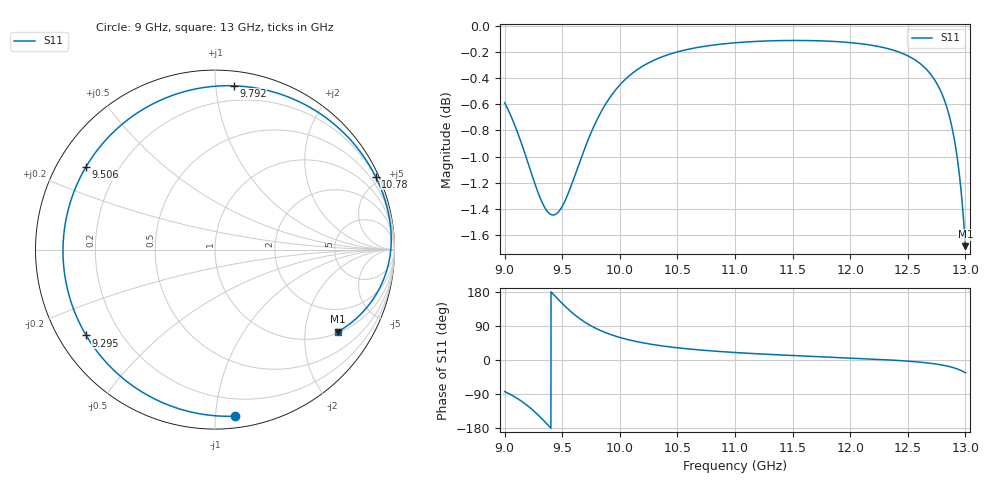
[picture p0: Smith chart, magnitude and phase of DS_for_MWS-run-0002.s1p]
! TOUCHSTONE file generated by CST DESIGN STUDIO
! Date and time: Tue Feb  4 17:27:07 2025
! Project name: C:\Work\MatlabApps\UnitCellOptimizationMatlab\CST\unitcell.cst
! Tree item: Tasks\Sweep1\SPara1\S-Parameters
! Header version: 2024
! Port assignment regex: !\s*Touchstone port\s*([0-9]+)\s*=\s*(CST MWS port|CST DES external port|CST DES block port)\s*(.+)\s* \(\"(.*)\"\)(\s*mode\s*([0-9]+))?.*
! Touchstone port assignment:
! Touchstone port 1 = CST DES external port 1 ("")
# GHz S MA R 50
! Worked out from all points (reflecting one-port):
!   4001 points, 9 GHz to 13 GHz, reference 50 ohm
!   lowest |S11| = -1.7 dB at 13 GHz (marker M1), VSWR 10.34, Z = 52.1 - j148 ohm
!   phase of S11 starts at -83 deg and turns -311 deg over the sweep
!   S11 on the Smith chart (normalised r, x): 9 GHz: 0.08, -1.12; 9.295 GHz: 0.08, -0.30; 9.506 GHz: 0.09, +0.29; 9.792 GHz: 0.10, +1.12; 10.78 GHz: 0.19, +4.61; 13 GHz: 1.04, -2.96
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9  0.9346 -83.2
9.087  0.9165 -97.1
9.161  0.8978 -111.8
9.229  0.8792 -128.0
9.295  0.8624 -146.3
9.348  0.8522 -162.5
9.398  0.8472 -178.5
9.447  0.8473 165.7
9.5  0.853 149.2
9.506  0.854 147.4
9.571  0.8671 128.9
9.637  0.8833 112.5
9.709  0.9008 97.5
9.792  0.9187 83.5
9.892  0.9357 70.3
10  0.9492 59.5
10.101  0.9584 51.6
10.216  0.966 44.5
10.5  0.9772 32.2
10.777  0.9827 24.4
11  0.9851 19.8
11.5  0.9871 11.9
12  0.9852 5.3
12.5  0.9739 -3.0
12.686  0.9597 -8.3
12.83  0.9333 -15.2
12.921  0.8955 -22.6
13  0.8237 -33.8
